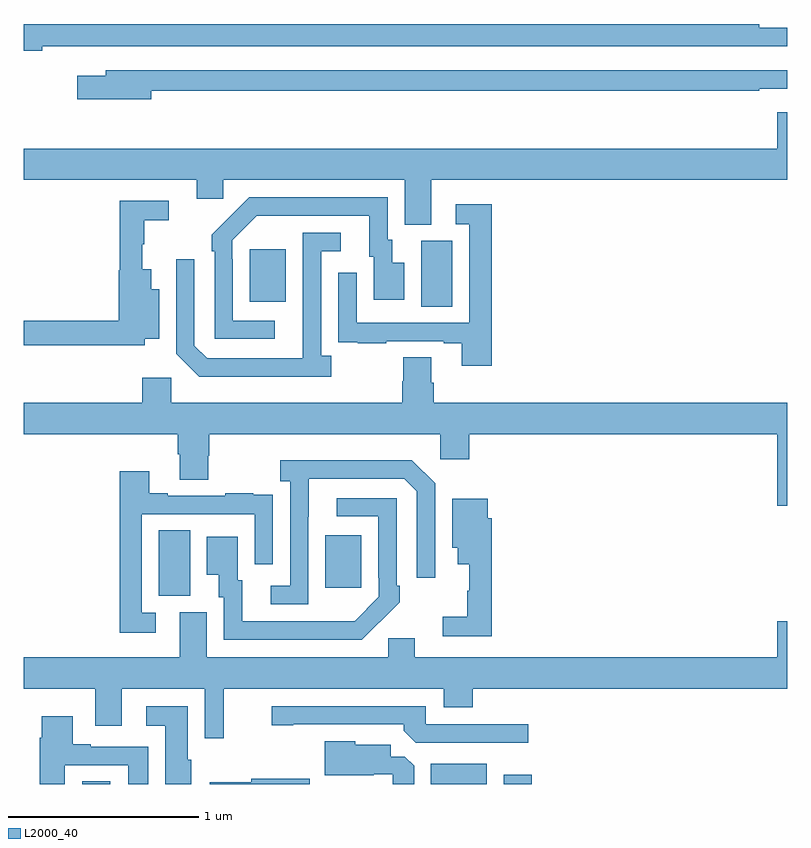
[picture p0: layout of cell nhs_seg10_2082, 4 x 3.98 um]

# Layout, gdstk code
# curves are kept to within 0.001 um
import gdstk
lib = gdstk.Library(unit=1e-6, precision=1e-09)
def R(c, l, rs):  # rectangles x0, y0, x1, y1
    for r in rs: c.add(gdstk.rectangle(r[:2], r[2:], *l))
def P(c, l, *ps):  # polygons
    for p in ps: c.add(gdstk.Polygon(p, *l))
L2000_40 = (2000, 40)

nhs_seg10_2082 = lib.new_cell('nhs_seg10_2082')
R(nhs_seg10_2082, L2000_40, [(221.306,1282.5,221.455,1282.514), (223.133,1282.5,223.426,1282.606), (223.514,1282.5,223.661,1282.549), (221.708,1283.485,221.872,1283.828), (222.581,1283.529,222.769,1283.803), (223.082,1285,223.246,1285.344), (222.185,1285.025,222.373,1285.3)])
P(nhs_seg10_2082, L2000_40, [(221.098,1286.363),(221.292,1286.363),(221.292,1286.364),(225,1286.364),(225,1286.461),(224.852,1286.461),(224.852,1286.48),(221,1286.48),(221,1286.339),(221.098,1286.339)],
  [(221.668,1286.13),(224.852,1286.13),(224.852,1286.142),(225,1286.142),(225,1286.238),(221.429,1286.238),(221.429,1286.209),(221.28,1286.209),(221.28,1286.087),(221.668,1286.087)],
  [(223.135,1285.664),(225,1285.664),(225,1286.017),(224.948,1286.017),(224.948,1285.828),(221,1285.828),(221,1285.664),(221.906,1285.664),(221.906,1285.566),(222.045,1285.566),(222.045,1285.664),(222.995,1285.664),(222.995,1285.429),(223.135,1285.429)],
  [(222.316,1284.927),(222.096,1284.927),(222.096,1285.247),(222.093,1285.247),(222.093,1285.347),(222.222,1285.476),(222.809,1285.476),(222.809,1285.26),(222.833,1285.26),(222.833,1285.035),(222.994,1285.035),(222.994,1285.231),(222.931,1285.231),(222.931,1285.35),(222.906,1285.35),(222.906,1285.572),(222.182,1285.572),(221.985,1285.377),(221.985,1285.289),(222,1285.289),(222,1284.831),(222.316,1284.831)],
  [(221.634,1284.833),(221.71,1284.833),(221.71,1285.09),(221.668,1285.09),(221.668,1285.195),(221.621,1285.195),(221.621,1285.326),(221.632,1285.326),(221.632,1285.453),(221.761,1285.453),(221.761,1285.554),(221.503,1285.554),(221.503,1285.191),(221.498,1285.191),(221.498,1284.926),(221,1284.926),(221,1284.798),(221.634,1284.798)],
  [(223.451,1285.537),(223.263,1285.537),(223.263,1285.431),(223.335,1285.431),(223.335,1284.915),(222.744,1284.915),(222.744,1285.177),(222.648,1285.177),(222.648,1284.922),(222.649,1284.922),(222.649,1284.813),(222.751,1284.813),(222.751,1284.807),(222.899,1284.807),(222.899,1284.819),(223.199,1284.819),(223.199,1284.807),(223.295,1284.807),(223.295,1284.69),(223.451,1284.69)],
  [(222.61,1284.742),(222.558,1284.742),(222.558,1285.29),(222.661,1285.29),(222.661,1285.386),(222.462,1285.386),(222.461,1284.729),(221.961,1284.729),(221.895,1284.795),(221.895,1285.249),(221.799,1285.249),(221.799,1284.753),(221.92,1284.632),(222.61,1284.632)],
  [(225,1284.496),(223.148,1284.496),(223.148,1284.602),(223.135,1284.602),(223.135,1284.734),(222.988,1284.734),(222.988,1284.609),(222.983,1284.609),(222.983,1284.496),(221.772,1284.496),(221.772,1284.628),(221.621,1284.628),(221.621,1284.496),(221,1284.496),(221,1284.332),(221.807,1284.332),(221.807,1284.226),(221.819,1284.226),(221.819,1284.094),(221.967,1284.094),(221.967,1284.219),(221.972,1284.219),(221.972,1284.332),(223.182,1284.332),(223.182,1284.201),(223.334,1284.201),(223.334,1284.332),(224.948,1284.332),(224.948,1283.958),(225,1283.958)],
  [(222.492,1283.899),(222.493,1284.099),(222.993,1284.099),(223.059,1284.033),(223.059,1283.58),(223.155,1283.58),(223.155,1284.075),(223.034,1284.196),(222.345,1284.196),(222.345,1284.086),(222.396,1284.086),(222.396,1283.538),(222.294,1283.538),(222.294,1283.442),(222.492,1283.442)],
  [(221.692,1283.397),(221.619,1283.397),(221.619,1283.913),(222.21,1283.913),(222.21,1283.652),(222.306,1283.652),(222.306,1283.906),(222.305,1283.906),(222.305,1284.015),(222.203,1284.015),(222.203,1284.022),(222.055,1284.022),(222.055,1284.009),(221.755,1284.009),(221.755,1284.022),(221.659,1284.022),(221.659,1284.139),(221.503,1284.139),(221.503,1283.292),(221.692,1283.292)],
  [(222.863,1283.347),(222.864,1283.346),(222.969,1283.451),(222.969,1283.539),(222.954,1283.539),(222.954,1283.997),(222.639,1283.997),(222.639,1283.901),(222.858,1283.901),(222.858,1283.581),(222.861,1283.581),(222.861,1283.481),(222.733,1283.353),(222.145,1283.352),(222.145,1283.568),(222.121,1283.568),(222.121,1283.794),(221.96,1283.794),(221.96,1283.597),(222.023,1283.597),(222.023,1283.478),(222.048,1283.478),(222.048,1283.256),(222.772,1283.256)],
  [(223.451,1283.891),(223.432,1283.891),(223.432,1283.995),(223.244,1283.995),(223.244,1283.738),(223.274,1283.738),(223.274,1283.651),(223.334,1283.651),(223.334,1283.511),(223.323,1283.511),(223.323,1283.375),(223.194,1283.375),(223.194,1283.274),(223.451,1283.274)],
  [(222.048,1283),(223.199,1283),(223.199,1282.901),(223.352,1282.901),(223.352,1283),(225,1283),(225,1283.353),(224.948,1283.353),(224.948,1283.164),(223.048,1283.164),(223.048,1283.262),(222.909,1283.262),(222.909,1283.164),(221.959,1283.164),(221.959,1283.4),(221.819,1283.4),(221.819,1283.164),(221,1283.164),(221,1283),(221.375,1283),(221.375,1282.806),(221.515,1282.806),(221.515,1283),(221.949,1283),(221.949,1282.74),(222.048,1282.74)],
  [(223.642,1282.812),(223.107,1282.812),(223.107,1282.908),(222.3,1282.908),(222.3,1282.807),(222.412,1282.807),(222.412,1282.812),(222.992,1282.812),(222.992,1282.778),(223.053,1282.716),(223.642,1282.716)],
  [(221.878,1282.626),(221.86,1282.626),(221.86,1282.906),(221.643,1282.906),(221.643,1282.805),(221.741,1282.805),(221.741,1282.5),(221.878,1282.5)],
  [(221.215,1282.599),(221.549,1282.599),(221.549,1282.5),(221.653,1282.5),(221.653,1282.695),(221.353,1282.695),(221.353,1282.708),(221.257,1282.708),(221.257,1282.855),(221.096,1282.855),(221.096,1282.742),(221.084,1282.742),(221.084,1282.5),(221.215,1282.5)],
  [(223.045,1282.595),(222.996,1282.644),(222.922,1282.644),(222.922,1282.705),(222.738,1282.705),(222.738,1282.723),(222.578,1282.723),(222.578,1282.547),(222.833,1282.547),(222.833,1282.551),(222.933,1282.551),(222.933,1282.5),(223.045,1282.5)],
  [(222.499,1282.528),(222.191,1282.528),(222.191,1282.508),(221.976,1282.508),(221.976,1282.5),(222.499,1282.5)])

lib.write_gds('nhs_seg10_2082.gds')
